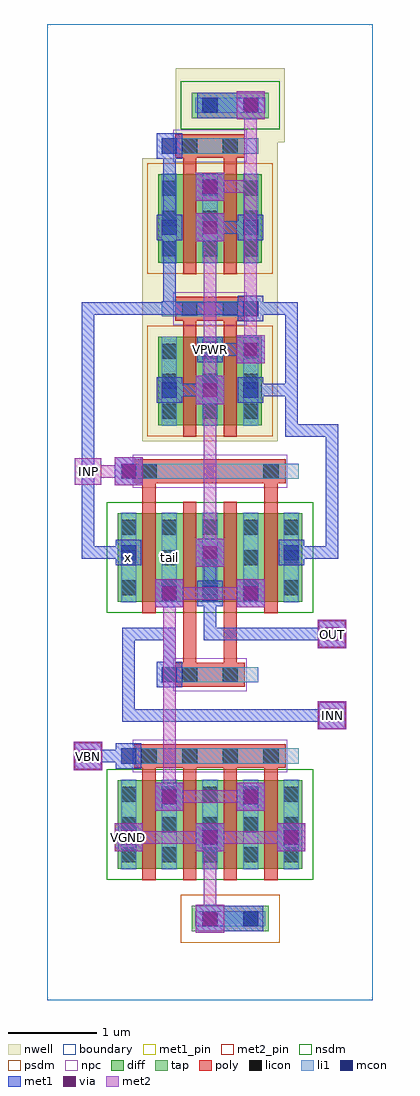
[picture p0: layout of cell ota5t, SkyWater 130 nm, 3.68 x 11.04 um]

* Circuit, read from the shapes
.subckt ota5t INN INP OUT VBN VGND VPWR tail x
XM1 tail VBN VGND VGND sky130_fd_pr__nfet_01v8 w=1 l=0.15 m=4
XM2 tail INP x VGND sky130_fd_pr__nfet_01v8 w=1 l=0.15 m=2
XM3 OUT INN tail VGND sky130_fd_pr__nfet_01v8 w=1 l=0.15 m=2
XM4 VPWR x OUT VPWR sky130_fd_pr__pfet_01v8 w=1 l=0.15 m=2
XM5 VPWR x x VPWR sky130_fd_pr__pfet_01v8 w=1 l=0.15 m=2
.ends

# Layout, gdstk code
import gdstk
lib = gdstk.Library(unit=1e-6, precision=1e-09)
def R(c, l, rs):  # rectangles x0, y0, x1, y1
    for r in rs: c.add(gdstk.rectangle(r[:2], r[2:], *l))
def A(c, l, x, y, w, h, nx, ny, dx, dy):  # array of equal rectangles
    R(c, l, [(x+i*dx, y+j*dy, x+i*dx+w, y+j*dy+h) for i in range(nx) for j in range(ny)])
nwell = (64, 20)
diff = (65, 20)
tap = (65, 44)
poly = (66, 20)
licon = (66, 44)
li1 = (67, 20)
mcon = (67, 44)
met1_pin = (68, 16)
met1 = (68, 20)
via = (68, 44)
met2_pin = (69, 16)
met2 = (69, 20)
nsdm = (93, 44)
psdm = (94, 20)
npc = (95, 20)
boundary = (235, 4)

ota5t = lib.new_cell('ota5t')
R(ota5t, nwell, [(1.075,6.32,2.605,9.52), (1.455,9.52,2.605,9.7), (1.455,9.7,2.685,10.54)])
R(ota5t, diff, [(0.795,1.485,2.885,2.485), (0.795,4.505,2.885,5.505), (1.255,6.5,2.425,7.5), (1.255,8.34,2.425,9.34)])
R(ota5t, tap, [(1.635,0.775,2.505,1.065), (1.635,9.975,2.505,10.265)])
A(ota5t, poly, 1.075, 1.355, 0.15, 1.405, 4, 1, 0.46, 0)
R(ota5t, poly, [(0.985,2.625,2.695,2.895), (1.445,3.545,2.235,3.815), (1.535,3.68,1.685,5.635), (1.995,3.68,2.145,5.635), (1.075,4.375,1.225,5.98), (2.455,4.375,2.605,5.98), (0.985,5.845,2.695,6.115), (1.535,6.37,1.685,7.82), (1.995,6.37,2.145,7.82), (1.445,7.685,2.235,7.955), (1.535,8.21,1.685,9.66), (1.995,8.21,2.145,9.66), (1.445,9.525,2.235,9.795)])
A(ota5t, licon, 0.835, 1.56, 0.17, 0.17, 5, 3, 0.46, 0.34)
A(ota5t, licon, 1.065, 2.675, 0.17, 0.17, 4, 1, 0.46, 0)
A(ota5t, licon, 0.835, 4.58, 0.17, 0.17, 5, 3, 0.46, 0.34)
A(ota5t, licon, 1.295, 6.575, 0.17, 0.17, 3, 3, 0.46, 0.34)
A(ota5t, licon, 1.295, 8.415, 0.17, 0.17, 3, 3, 0.46, 0.34)
R(ota5t, licon, [(1.755,0.835,1.925,1.005), (2.215,0.835,2.385,1.005), (1.525,3.595,1.695,3.765), (1.985,3.595,2.155,3.765), (1.065,5.895,1.235,6.065), (2.445,5.895,2.615,6.065), (1.525,7.735,1.695,7.905), (1.985,7.735,2.155,7.905), (1.525,9.575,1.695,9.745), (1.985,9.575,2.155,9.745), (1.755,10.035,1.925,10.205), (2.215,10.035,2.385,10.205)])
A(ota5t, li1, 0.835, 1.48, 0.17, 1.01, 5, 2, 0.46, 3.02)
A(ota5t, li1, 1.295, 6.495, 0.17, 1.01, 3, 2, 0.46, 1.84)
R(ota5t, li1, [(1.675,0.835,2.465,1.005), (0.835,2.675,2.845,2.845), (1.295,3.595,2.385,3.765), (0.835,5.895,2.845,6.065), (1.295,7.735,2.385,7.905), (1.295,9.575,2.385,9.745), (1.675,10.035,2.465,10.205)])
A(ota5t, mcon, 0.835, 1.755, 0.17, 0.17, 3, 1, 0.92, 0)
A(ota5t, mcon, 1.295, 4.515, 0.17, 0.17, 3, 1, 0.46, 0)
A(ota5t, mcon, 2.215, 6.815, 0.17, 0.17, 1, 3, 0, 0.92)
R(ota5t, mcon, [(1.755,0.835,1.925,1.005), (2.215,0.835,2.385,1.005), (1.295,2.215,1.465,2.385), (2.215,2.215,2.385,2.385), (0.835,2.675,1.005,2.845), (1.295,3.595,1.465,3.765), (0.835,4.975,1.005,5.145), (2.675,4.975,2.845,5.145), (0.835,5.895,1.005,6.065), (1.295,6.815,1.465,6.985), (1.755,7.275,1.925,7.445), (1.295,8.655,1.465,8.825), (1.755,9.115,1.925,9.285), (1.295,9.575,1.465,9.745), (1.755,10.035,1.925,10.205), (2.215,10.035,2.385,10.205)])
R(ota5t, met1_pin, [(0.775,1.695,1.065,1.985), (1.695,7.215,1.985,7.505)])
A(ota5t, met1, 0.76, 1.68, 0.32, 0.32, 3, 1, 0.92, 0)
A(ota5t, met1, 0.775, 1.695, 0.29, 0.29, 3, 1, 0.92, 0)
A(ota5t, met1, 2.14, 4.44, 0.32, 0.32, 1, 3, 0, 2.76)
A(ota5t, met1, 1.235, 4.455, 0.29, 0.29, 3, 1, 0.46, 0)
A(ota5t, met1, 1.68, 4.9, 0.32, 0.32, 1, 3, 0, 1.84)
A(ota5t, met1, 2.155, 6.755, 0.29, 0.29, 1, 3, 0, 0.92)
R(ota5t, met1, [(1.68,0.76,2,1.08), (1.695,0.775,2.445,1.065), (1.77,0.85,1.91,0.99), (1.22,2.14,1.54,2.46), (2.14,2.14,2.46,2.46), (1.235,2.155,1.525,2.445), (2.155,2.155,2.445,2.445), (0.3,2.6,0.62,2.92), (0.775,2.615,1.065,2.905), (0.39,2.69,0.99,2.83), (3.06,3.06,3.38,3.38), (0.85,3.15,0.99,4.21), (0.85,3.15,3.29,3.29), (1.235,3.535,1.525,3.825), (1.31,3.61,1.45,4.21), (3.06,3.98,3.38,4.3), (0.85,4.07,1.45,4.21), (1.77,4.07,1.91,4.67), (1.77,4.07,3.29,4.21), (1.22,4.44,1.54,4.76), (1.77,4.53,1.91,5.13), (0.775,4.915,1.065,5.205), (2.615,4.915,2.905,5.205), (0.39,4.99,0.99,5.13), (0.39,4.99,0.53,7.89), (2.69,4.99,3.29,5.13), (3.15,4.99,3.29,6.51), (0.76,5.82,1.08,6.14), (0.775,5.835,1.065,6.125), (2.69,6.37,2.83,6.97), (2.69,6.37,3.29,6.51), (1.235,6.755,1.525,7.045), (1.31,6.83,1.91,6.97), (2.23,6.83,2.83,6.97), (2.69,6.83,2.83,7.89), (1.695,7.215,1.985,7.505), (1.77,7.29,2.37,7.43), (0.39,7.75,1.45,7.89), (1.31,7.75,1.45,8.81), (1.31,7.75,2.37,7.89), (2.23,7.75,2.83,7.89), (1.235,8.595,1.525,8.885), (1.31,8.67,1.45,9.73), (1.77,8.67,2.37,8.81), (1.68,9.04,2,9.36), (1.695,9.055,1.985,9.345), (1.235,9.515,1.525,9.805), (1.695,9.975,2.445,10.265), (2.23,10.05,2.37,10.19)])
A(ota5t, via, 0.845, 1.765, 0.15, 0.15, 3, 1, 0.92, 0)
A(ota5t, via, 2.225, 4.525, 0.15, 0.15, 1, 3, 0, 2.76)
A(ota5t, via, 1.765, 4.985, 0.15, 0.15, 1, 3, 0, 1.84)
R(ota5t, via, [(1.765,0.845,1.915,0.995), (1.305,2.225,1.455,2.375), (2.225,2.225,2.375,2.375), (0.385,2.685,0.535,2.835), (3.145,3.145,3.295,3.295), (3.145,4.065,3.295,4.215), (1.305,4.525,1.455,4.675), (0.845,5.905,0.995,6.055), (1.765,9.125,1.915,9.275)])
R(ota5t, met2_pin, [(0.31,2.61,0.61,2.91), (3.07,3.07,3.37,3.37), (3.07,3.99,3.37,4.29), (0.31,5.83,0.61,6.13)])
A(ota5t, met2, 0.76, 1.68, 0.32, 0.32, 3, 1, 0.92, 0)
A(ota5t, met2, 2.14, 4.44, 0.32, 0.32, 1, 3, 0, 2.76)
A(ota5t, met2, 1.68, 4.9, 0.32, 0.32, 1, 3, 0, 1.84)
R(ota5t, met2, [(1.68,0.76,2,1.08), (1.77,0.85,1.91,1.91), (0.85,1.77,1.91,1.91), (1.77,1.77,2.83,1.91), (1.22,2.14,1.54,2.46), (2.14,2.14,2.46,2.46), (1.31,2.23,2.37,2.37), (1.31,2.23,1.45,4.67), (0.3,2.6,0.62,2.92), (0.31,2.61,0.61,2.91), (0.39,2.69,0.53,2.83), (3.06,3.06,3.38,3.38), (3.07,3.07,3.37,3.37), (3.15,3.15,3.29,3.29), (3.06,3.98,3.38,4.3), (3.07,3.99,3.37,4.29), (3.15,4.07,3.29,4.21), (1.22,4.44,1.54,4.76), (1.31,4.53,2.37,4.67), (1.77,4.99,1.91,6.97), (0.76,5.82,1.08,6.14), (0.31,5.83,0.61,6.13), (0.39,5.91,0.53,6.05), (0.39,5.91,0.99,6.05), (1.77,6.83,1.91,8.81), (2.23,7.29,2.37,9.27), (1.68,9.04,2,9.36), (1.77,9.13,2.37,9.27), (2.23,9.13,2.37,10.19)])
R(ota5t, nsdm, [(0.67,1.36,3.01,2.61), (0.67,4.38,3.01,5.63), (1.51,9.85,2.63,10.39)])
R(ota5t, psdm, [(1.51,0.65,2.63,1.19), (1.13,6.375,2.55,7.625), (1.13,8.215,2.55,9.465)])
R(ota5t, npc, [(0.965,2.575,2.715,2.945), (1.425,3.495,2.255,3.865), (0.965,5.795,2.715,6.165), (1.425,7.635,2.255,8.005), (1.425,9.475,2.255,9.845)])
R(ota5t, boundary, [(0,0,3.68,11.04)])
ota5t.add(gdstk.Label('x', (0.92,5.005), layer=67, texttype=5))
ota5t.add(gdstk.Label('tail', (1.38,5.005), layer=67, texttype=5))
ota5t.add(gdstk.Label('VPWR', (1.84,7.36), layer=68, texttype=5))
ota5t.add(gdstk.Label('VGND', (0.92,1.84), layer=68, texttype=5))
ota5t.add(gdstk.Label('INP', (0.46,5.98), layer=69, texttype=5))
ota5t.add(gdstk.Label('INN', (3.22,3.22), layer=69, texttype=5))
ota5t.add(gdstk.Label('VBN', (0.46,2.76), layer=69, texttype=5))
ota5t.add(gdstk.Label('OUT', (3.22,4.14), layer=69, texttype=5))
ota5t.add(gdstk.Label('VPWR', (1.84,7.36), layer=68, texttype=16))
ota5t.add(gdstk.Label('VGND', (0.92,1.84), layer=68, texttype=16))
ota5t.add(gdstk.Label('INP', (0.46,5.98), layer=69, texttype=16))
ota5t.add(gdstk.Label('INN', (3.22,3.22), layer=69, texttype=16))
ota5t.add(gdstk.Label('VBN', (0.46,2.76), layer=69, texttype=16))
ota5t.add(gdstk.Label('OUT', (3.22,4.14), layer=69, texttype=16))

lib.write_gds('ota5t.gds')
